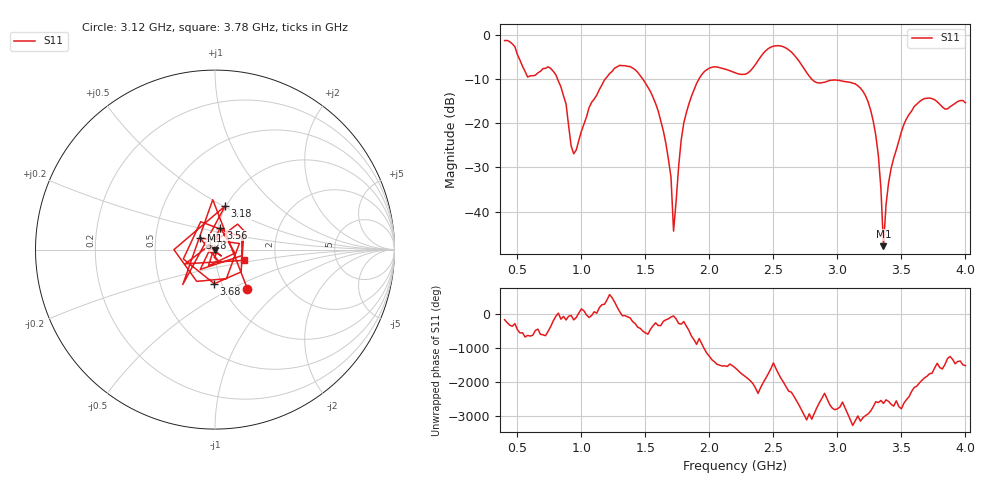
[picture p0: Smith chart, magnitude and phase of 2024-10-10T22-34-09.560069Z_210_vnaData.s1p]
! Created with skrf (http://scikit-rf.org).
# Hz S RI R 50.0
!freq ReS11 ImS11
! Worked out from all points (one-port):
!   181 points, 400 MHz to 4 GHz, reference 50 ohm
!   lowest |S11| = -47.8 dB at 3.36 GHz (marker M1), VSWR 1.01, Z = 49.8 - j0.343 ohm
!   |S11| at or under -10 dB: 813.7 MHz to 1.186 GHz (372.4 MHz wide, 37.2 % of centre); 1.479 GHz to 1.918 GHz (438.9 MHz wide, 25.8 % of centre); 2.798 GHz to end of sweep
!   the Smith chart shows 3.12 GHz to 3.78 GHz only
!   S11 on the Smith chart (normalised r, x): 3.12 GHz: 1.28, -0.61; 3.18 GHz: 0.99, +0.51; 3.28 GHz: 0.84, +0.11; 3.56 GHz: 1.03, +0.26; 3.68 GHz: 0.92, -0.36; 3.78 GHz: 1.38, -0.17
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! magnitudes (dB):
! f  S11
! 400 MHz  -1.3
! 580 MHz  -9.6
! 760 MHz  -7.6
! 860 MHz  -13.8
! 940 MHz  -26.9
! 1.08 GHz  -15.3
! 1.3 GHz  -6.9
! 1.6 GHz  -17.2
! 1.7 GHz  -32.2
! 1.72 GHz  -44.4
! 1.76 GHz  -29.7
! 1.8 GHz  -19.9
! 1.92 GHz  -9.9
! 2.2 GHz  -8.6
! 2.66 GHz  -4.5
! 2.82 GHz  -10.6
! 3.1 GHz  -10.8
! 3.12 GHz  -10.9
! 3.18 GHz  -12.1
! 3.28 GHz  -19.5
! 3.32 GHz  -27.3
! 3.36 GHz  -47.8
! 3.38 GHz  -38.4
! 3.42 GHz  -30.2
! 3.56 GHz  -18.0
! 3.68 GHz  -14.4
! 3.78 GHz  -15.2
! 4 GHz  -15.4
